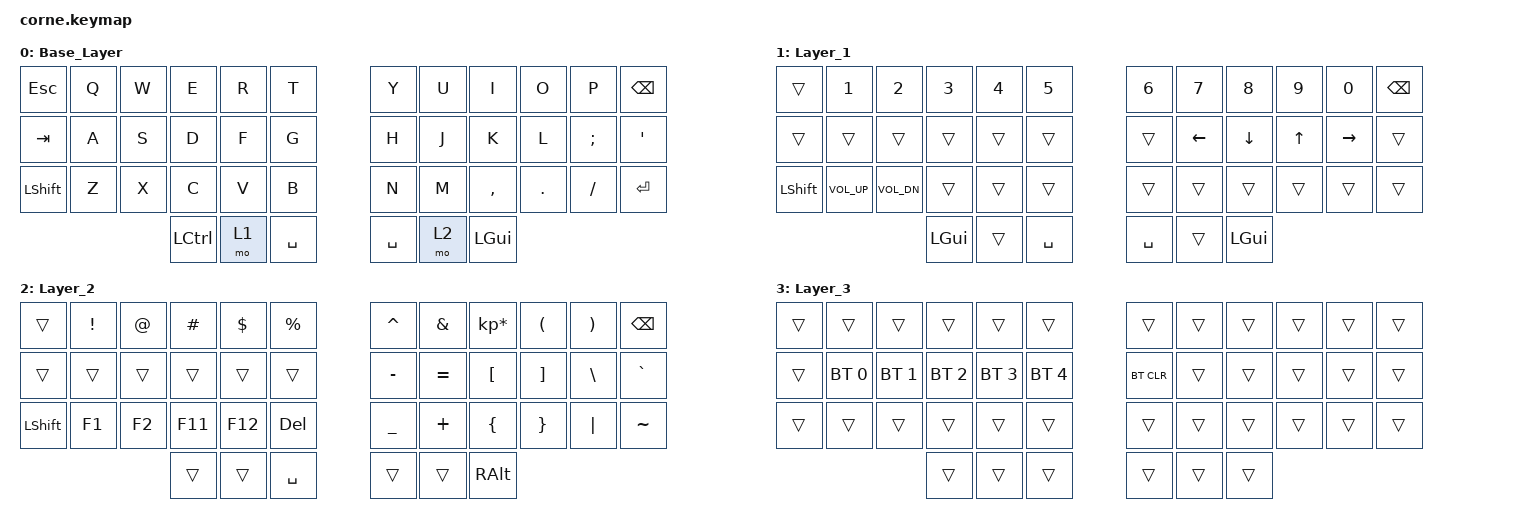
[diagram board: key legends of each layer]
/*
 * Copyright (c) 2020 The ZMK Contributors
 *
 * SPDX-License-Identifier: MIT
 */

#include <behaviors.dtsi>
#include <dt-bindings/zmk/bt.h>
#include <dt-bindings/zmk/keys.h>

/ {
    keymap {
        compatible = "zmk,keymap";

        Base_Layer {
            // -----------------------------------------------------------------------------------------
            // |  TAB |  Q  |  W  |  E  |  R  |  T  |   |  Y  |  U   |  I  |  O  |  P  | BKSP |
            // | CTRL |  A  |  S  |  D  |  F  |  G  |   |  H  |  J   |  K  |  L  |  ;  |  '   |
            // | SHFT |  Z  |  X  |  C  |  V  |  B  |   |  N  |  M   |  ,  |  .  |  /  | ESC  |
            //                    | GUI | LWR | SPC |   | ENT | RSE  | ALT |

            bindings = <
&kp ESC    &kp Q  &kp W  &kp E      &kp R  &kp T        &kp Y      &kp U  &kp I      &kp O    &kp P     &kp BSPC
&kp TAB    &kp A  &kp S  &kp D      &kp F  &kp G        &kp H      &kp J  &kp K      &kp L    &kp SEMI  &kp SQT
&kp LSHFT  &kp Z  &kp X  &kp C      &kp V  &kp B        &kp N      &kp M  &kp COMMA  &kp DOT  &kp FSLH  &kp RET
                         &kp LCTRL  &mo 1  &kp SPACE    &kp SPACE  &mo 2  &kp LGUI
            >;
        };

        Layer_1 {
            // -----------------------------------------------------------------------------------------
            // |  TAB |  1  |  2  |  3  |  4  |  5  |   |  6  |  7  |  8  |  9  |  0  | BKSP |
            // | BTCLR| BT1 | BT2 | BT3 | BT4 | BT5 |   | LFT | DWN |  UP | RGT |     |      |
            // | SHFT |     |     |     |     |     |   |     |     |     |     |     |      |
            //                    | GUI |     | SPC |   | ENT |     | ALT |

            bindings = <
&trans     &kp N1        &kp N2        &kp N3    &kp N4  &kp N5       &kp N6     &kp N7          &kp N8          &kp N9        &kp N0     &kp BSPC
&trans     &trans        &trans        &trans    &trans  &trans       &trans     &kp LEFT_ARROW  &kp DOWN_ARROW  &kp UP_ARROW  &kp RIGHT  &trans
&kp LSHFT  &kp C_VOL_UP  &kp C_VOL_DN  &trans    &trans  &trans       &trans     &trans          &trans          &trans        &trans     &trans
                                       &kp LGUI  &trans  &kp SPACE    &kp SPACE  &trans          &kp LGUI
            >;
        };

        Layer_2 {
            // -----------------------------------------------------------------------------------------
            // |  TAB |  !  |  @  |  #  |  $  |  %  |   |  ^  |  &  |  *  |  (  |  )  | BKSP |
            // | CTRL |     |     |     |     |     |   |  -  |  =  |  [  |  ]  |  \  |  `   |
            // | SHFT |     |     |     |     |     |   |  _  |  +  |  {  |  }  | "|" |  ~   |
            //                    | GUI |     | SPC |   | ENT |     | ALT |

            bindings = <
&trans     &kp EXCL  &kp AT  &kp HASH  &kp DLLR  &kp PRCNT    &kp CARET  &kp AMPS   &kp KP_MULTIPLY  &kp LPAR  &kp RPAR  &kp BSPC
&trans     &trans    &trans  &trans    &trans    &trans       &kp MINUS  &kp EQUAL  &kp LBKT         &kp RBKT  &kp BSLH  &kp GRAVE
&kp LSHFT  &kp F1    &kp F2  &kp F11   &kp F12   &kp DEL      &kp UNDER  &kp PLUS   &kp LBRC         &kp RBRC  &kp PIPE  &kp TILDE
                             &trans    &trans    &kp SPACE    &trans     &trans     &kp RALT
            >;
        };

        Layer_3 {
            bindings = <
&trans  &trans        &trans        &trans        &trans        &trans          &trans      &trans  &trans  &trans  &trans  &trans
&trans  &bt BT_SEL 0  &bt BT_SEL 1  &bt BT_SEL 2  &bt BT_SEL 3  &bt BT_SEL 4    &bt BT_CLR  &trans  &trans  &trans  &trans  &trans
&trans  &trans        &trans        &trans        &trans        &trans          &trans      &trans  &trans  &trans  &trans  &trans
                                    &trans        &trans        &trans          &trans      &trans  &trans
            >;
        };
    };

    conditional_layers {
        compatible = "zmk,conditional-layers";

        Third {
            if-layers = <1 2>;
            then-layer = <3>;
        };
    };
};
